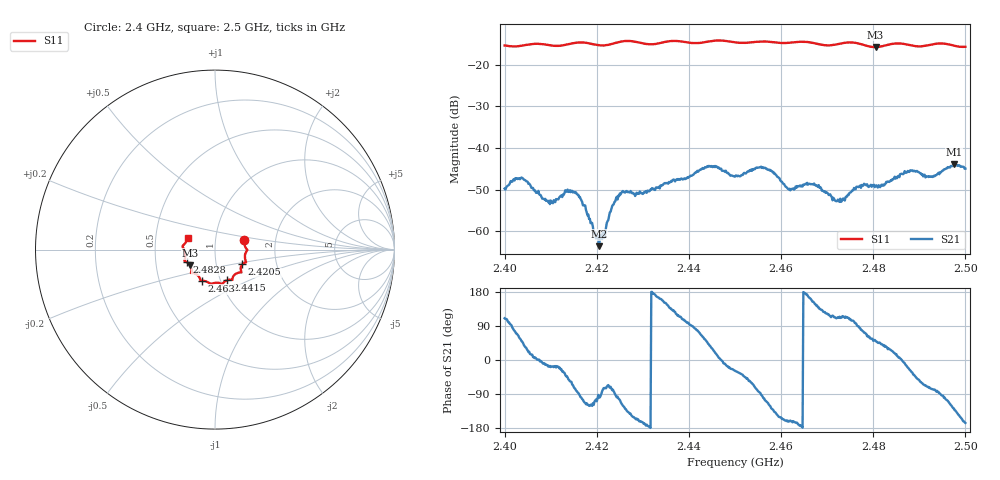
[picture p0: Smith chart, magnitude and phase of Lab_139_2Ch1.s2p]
# Hz S RI R 50
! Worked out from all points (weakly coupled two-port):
!   601 points, 2.4 GHz to 2.5 GHz, reference 50 ohm
!   highest |S21| = -43.93 dB at 2.4975 GHz (marker M1); lowest = -63.7 dB at 2.4205 GHz (marker M2)
!   lowest |S11| = -15.7 dB at 2.4805 GHz (marker M3), VSWR 1.39, Z = 37.3 - j6.7 ohm
!   |S11| at or under -10 dB: start of sweep to end of sweep
!   S12 and S22 are empty: the file has one direction only
!   S11 on the Smith chart (normalised r, x): 2.4 GHz: 1.38, +0.15; 2.4205 GHz: 1.34, -0.23; 2.4415 GHz: 1.07, -0.38; 2.463 GHz: 0.82, -0.29; 2.4828 GHz: 0.72, -0.10; 2.5 GHz: 0.73, +0.10
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2.4e9  0.1639 0.0518  -0.00111 0.00305  0 0  0 0
2.4035e9  0.1693 0.014  0.00253 0.00349  0 0  0 0
2.409333e9  0.1743 -0.0108  0.00225 -0.000536  0 0  0 0
2.413667e9  0.1682 -0.0544  0.00221 -0.00226  0 0  0 0
2.416667e9  0.1732 -0.07  -0.000379 -0.0023  0 0  0 0
2.4205e9  0.152 -0.0818  -0.000108 -0.000648  0 0  0 0
2.4215e9  0.1464 -0.0901  0.000247 -0.000871  0 0  0 0
2.423333e9  0.1431 -0.1084  0.00036 -0.00195  0 0  0 0
2.425167e9  0.1462 -0.1226  -0.000954 -0.00259  0 0  0 0
2.433333e9  0.1006 -0.1515  -0.00321 0.000852  0 0  0 0
2.4415e9  0.0658 -0.1709  0.000733 0.00497  0 0  0 0
2.4455e9  0.0419 -0.1915  0.00544 0.00228  0 0  0 0
2.45e9  0.0241 -0.186  0.00396 -0.00216  0 0  0 0
2.456e9  -0.0212 -0.1907  -0.000693 -0.00585  0 0  0 0
2.463e9  -0.0724 -0.1737  -0.00311 -0.000885  0 0  0 0
2.466667e9  -0.0821 -0.1667  -0.00338 0.00144  0 0  0 0
2.472167e9  -0.1198 -0.131  -0.000844 0.00213  0 0  0 0
2.4805e9  -0.139 -0.0874  0.00219 0.00269  0 0  0 0
2.482833e9  -0.1587 -0.07  0.00324 0.0022  0 0  0 0
2.483333e9  -0.1626 -0.0679  0.00339 0.002  0 0  0 0
2.4975e9  -0.1677 0.034  -0.00389 -0.00503  0 0  0 0
2.5e9  -0.1526 0.0644  -0.00547 -0.00136  0 0  0 0
